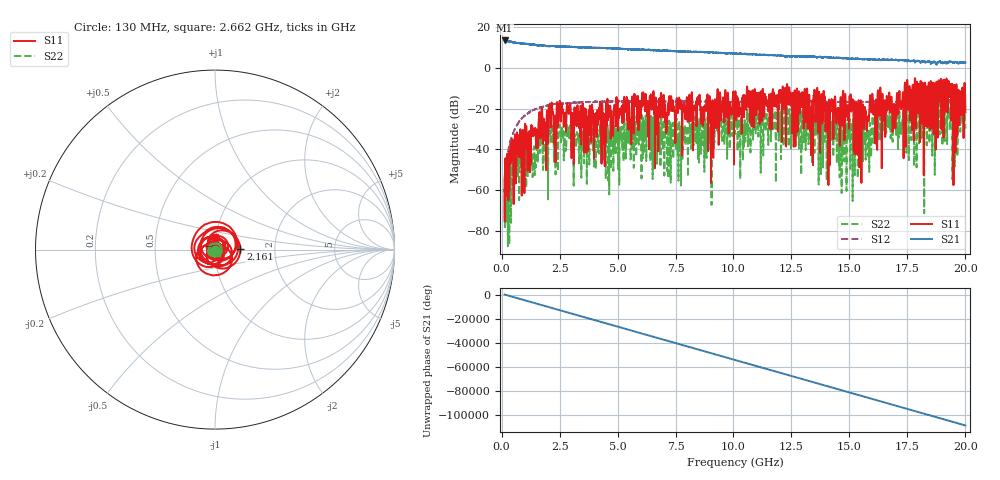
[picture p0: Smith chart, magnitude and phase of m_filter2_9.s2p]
!Created with skrf (http://scikit-rf.org).
# GHz S RI R 50.0
!freq ReS11 ImS11 ReS21 ImS21 ReS12 ImS12 ReS22 ImS22
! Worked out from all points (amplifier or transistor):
!   20013 points, 130 MHz to 20 GHz, reference 50 ohm
!   highest |S21| = 13.4 dB at 131 MHz (marker M1)
!   |S21| within 3 dB of that: start of sweep to 2.389 GHz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
!   unconditionally stable (mu >= 1): start of sweep to end of sweep
!   at 3.465 GHz: K = 1.32, MAG = 10.1 dB, |S12| = -16.9 dB
!   at 10.14 GHz: K = 1.70, MAG = 7.0 dB, |S12| = -16.8 dB
!   at 20 GHz: K = 2.47, MAG = 2.7 dB, |S12| = -16.3 dB
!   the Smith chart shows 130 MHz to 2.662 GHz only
!   S11 on the Smith chart (normalised r, x): 130 MHz: 1.00, +0.00; 2.161 GHz: 1.33, +0.01; 2.662 GHz: 0.99, +0.14
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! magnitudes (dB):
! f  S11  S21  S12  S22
! 130 MHz  -54.5  13.4  -53.9  -60.9
! 131 MHz  -56.5  13.4  -53.7  -59.3
! 756 MHz  -36.7  12.2  -26.4  -65.0
! 2.161 GHz  -17.0  10.7  -18.0  -27.7
! 2.662 GHz  -23.2  10.5  -17.5  -32.7
! 3.442 GHz  -21.6  10.1  -16.9  -43.2
! 4.401 GHz  -27.5  9.7  -16.6  -34.0
! 4.598 GHz  -19.7  9.6  -16.5  -43.8
! 5.514 GHz  -24.7  9.1  -16.6  -34.3
! 6.136 GHz  -17.3  8.9  -16.4  -40.3
! 6.754 GHz  -39.1  8.5  -16.5  -36.8
! 9.092 GHz  -15.9  7.6  -16.6  -27.5
! 10.06 GHz  -14.0  7.0  -16.8  -32.2
! 12.38 GHz  -12.0  5.7  -16.8  -38.1
! 13.38 GHz  -23.4  5.5  -16.5  -30.6
! 13.54 GHz  -20.4  5.4  -16.6  -28.0
! 15.69 GHz  -21.3  4.2  -16.7  -35.7
! 16.69 GHz  -15.9  3.9  -16.8  -29.0
! 16.93 GHz  -25.9  3.9  -16.9  -27.8
! 17.55 GHz  -12.7  3.7  -16.6  -30.3
! 19.1 GHz  -6.0  2.9  -16.5  -26.4
! 20 GHz  -21.8  2.7  -16.3  -29.9
